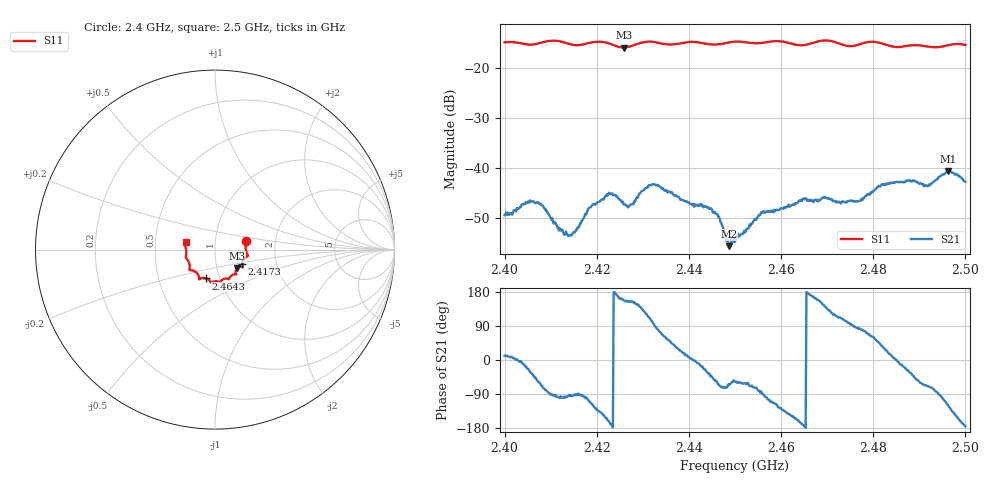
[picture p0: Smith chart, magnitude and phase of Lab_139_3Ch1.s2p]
# Hz S RI R 50
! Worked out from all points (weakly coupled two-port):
!   601 points, 2.4 GHz to 2.5 GHz, reference 50 ohm
!   highest |S21| = -40.68 dB at 2.4962 GHz (marker M1); lowest = -55.6 dB at 2.4487 GHz (marker M2)
!   lowest |S11| = -15.9 dB at 2.4258 GHz (marker M3), VSWR 1.38, Z = 62.3 - j13.3 ohm
!   |S11| at or under -10 dB: start of sweep to end of sweep
!   S12 and S22 are empty: the file has one direction only
!   S11 on the Smith chart (normalised r, x): 2.4 GHz: 1.41, +0.14; 2.4173 GHz: 1.34, -0.23; 2.4643 GHz: 0.86, -0.28; 2.5 GHz: 0.72, +0.06
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2.4e9  0.1734 0.0486  0.00333 0.000663  0 0  0 0
2.406e9  0.1709 0.00169  0.00368 -0.00283  0 0  0 0
2.408333e9  0.1794 -0.0241  0.00118 -0.00404  0 0  0 0
2.413333e9  0.1715 -0.043  -0.000357 -0.0023  0 0  0 0
2.416667e9  0.1529 -0.0748  -0.000203 -0.00292  0 0  0 0
2.417333e9  0.1519 -0.0823  -0.000374 -0.00326  0 0  0 0
2.422667e9  0.1475 -0.0948  -0.00538 -0.00174  0 0  0 0
2.425833e9  0.1216 -0.1037  -0.00401 0.00169  0 0  0 0
2.427333e9  0.1151 -0.1174  -0.00392 0.00184  0 0  0 0
2.433333e9  0.1128 -0.1374  0.0013 0.00664  0 0  0 0
2.4445e9  0.0592 -0.1612  0.00322 -0.00236  0 0  0 0
2.4465e9  0.0435 -0.1664  0.00141 -0.00295  0 0  0 0
2.448667e9  0.0324 -0.1763  0.000737 -0.00149  0 0  0 0
2.45e9  0.0287 -0.1808  0.000993 -0.00154  0 0  0 0
2.455667e9  -0.00386 -0.1772  0.000444 -0.0036  0 0  0 0
2.464333e9  -0.0502 -0.1604  -0.0047 -0.00111  0 0  0 0
2.466667e9  -0.076 -0.1589  -0.00464 0.000907  0 0  0 0
2.476833e9  -0.1246 -0.1164  0.00063 0.00465  0 0  0 0
2.483333e9  -0.1407 -0.0901  0.00663 0.00215  0 0  0 0
2.4915e9  -0.1613 -0.0303  0.00255 -0.0061  0 0  0 0
2.496167e9  -0.167 0.0205  -0.0044 -0.00813  0 0  0 0
2.5e9  -0.164 0.0421  -0.00729 -0.000603  0 0  0 0
